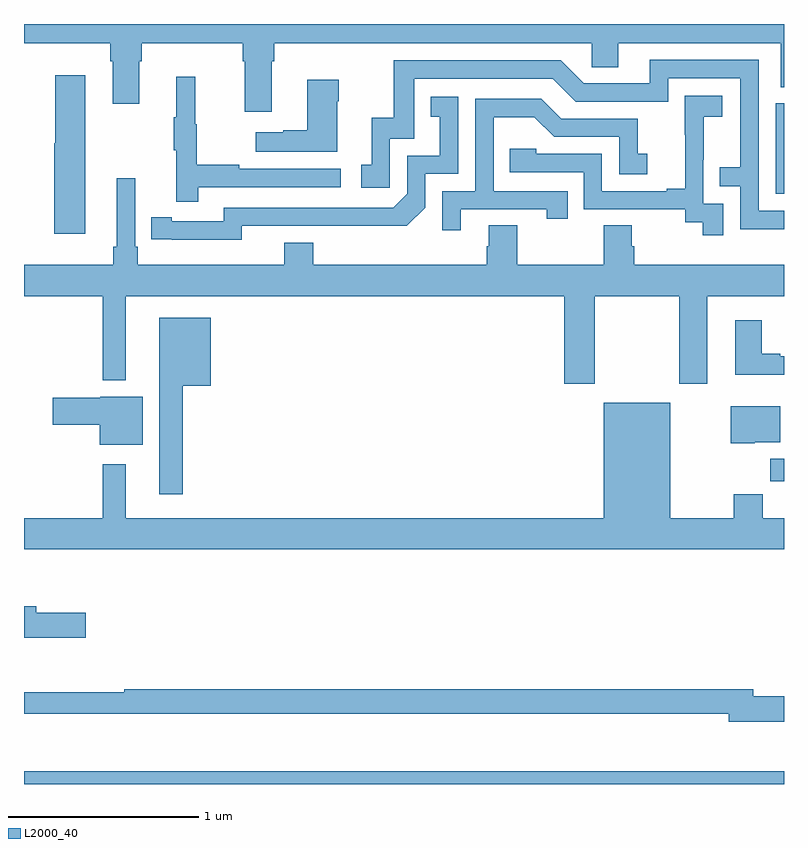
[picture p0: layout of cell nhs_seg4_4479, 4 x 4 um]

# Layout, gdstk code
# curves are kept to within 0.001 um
import gdstk
lib = gdstk.Library(unit=1e-6, precision=1e-09)
def R(c, l, rs):  # rectangles x0, y0, x1, y1
    for r in rs: c.add(gdstk.rectangle(r[:2], r[2:], *l))
def P(c, l, *ps):  # polygons
    for p in ps: c.add(gdstk.Polygon(p, *l))
L2000_40 = (2000, 40)

nhs_seg4_4479 = lib.new_cell('nhs_seg4_4479')
R(nhs_seg4_4479, L2000_40, [(351,812.9,355,812.968), (354.928,814.494,355,814.612), (354.957,816.006,355,816.483)])
P(nhs_seg4_4479, L2000_40, [(352.303,816.704),(352.316,816.704),(352.316,816.8),(353.988,816.8),(353.988,816.673),(354.127,816.673),(354.127,816.8),(354.983,816.8),(354.983,816.568),(355,816.568),(355,816.9),(351,816.9),(351,816.8),(351.455,816.8),(351.455,816.704),(351.467,816.704),(351.467,816.48),(351.607,816.48),(351.607,816.704),(351.62,816.704),(351.62,816.8),(352.151,816.8),(352.151,816.704),(352.163,816.704),(352.163,816.438),(352.303,816.438)],
  [(355,815.916),(354.867,815.916),(354.867,816.711),(354.293,816.711),(354.293,816.588),(353.946,816.588),(353.826,816.708),(352.947,816.708),(352.947,816.406),(352.829,816.406),(352.829,816.159),(352.776,816.159),(352.776,816.039),(352.926,816.039),(352.926,816.297),(353.055,816.297),(353.055,816.612),(353.784,816.612),(353.904,816.492),(354.39,816.492),(354.39,816.615),(354.771,816.615),(354.771,816.146),(354.661,816.146),(354.661,816.045),(354.771,816.045),(354.771,815.82),(355,815.82)],
  [(351.322,816.631),(351.164,816.631),(351.164,816.273),(351.158,816.273),(351.158,815.796),(351.322,815.796)],
  [(351.917,816.042),(352.666,816.042),(352.666,816.138),(352.133,816.138),(352.133,816.158),(351.91,816.158),(351.91,816.372),(351.902,816.372),(351.902,816.622),(351.8,816.622),(351.8,816.409),(351.789,816.409),(351.789,816.235),(351.8,816.235),(351.8,815.964),(351.917,815.964)],
  [(352.648,816.494),(352.656,816.494),(352.656,816.607),(352.49,816.607),(352.49,816.341),(352.364,816.341),(352.364,816.331),(352.221,816.331),(352.221,816.227),(352.648,816.227)],
  [(354.681,815.955),(354.576,815.955),(354.576,816.185),(354.578,816.185),(354.578,816.413),(354.676,816.413),(354.676,816.523),(354.478,816.523),(354.478,816.317),(354.479,816.317),(354.479,816.034),(354.383,816.034),(354.383,816.021),(354.042,816.021),(354.042,816.216),(353.697,816.216),(353.697,816.243),(353.557,816.243),(353.557,816.12),(353.946,816.12),(353.946,815.925),(354.48,815.925),(354.48,815.857),(354.573,815.857),(354.573,815.787),(354.681,815.787)],
  [(352.146,815.838),(353.014,815.837),(353.112,815.934),(353.112,816.111),(353.286,816.111),(353.286,816.517),(353.14,816.517),(353.14,816.411),(353.189,816.411),(353.189,816.207),(353.016,816.207),(353.016,816.006),(352.944,815.934),(352.05,815.934),(352.05,815.862),(351.778,815.862),(351.778,815.882),(351.67,815.882),(351.67,815.766),(352.146,815.765)],
  [(353.299,815.925),(353.75,815.925),(353.75,815.874),(353.861,815.874),(353.861,816.021),(353.472,816.021),(353.472,816.41),(353.686,816.41),(353.79,816.306),(354.132,816.306),(354.132,816.108),(354.28,816.108),(354.28,816.217),(354.231,816.217),(354.231,816.402),(353.827,816.402),(353.722,816.507),(353.376,816.507),(353.376,816.021),(353.202,816.021),(353.202,815.814),(353.299,815.814)],
  [(354.003,815.468),(354.448,815.468),(354.448,815.007),(354.595,815.007),(354.595,815.468),(355,815.468),(355,815.632),(354.212,815.632),(354.212,815.73),(354.199,815.73),(354.199,815.84),(354.052,815.84),(354.052,815.632),(353.595,815.632),(353.595,815.84),(353.447,815.84),(353.447,815.73),(353.435,815.73),(353.435,815.632),(352.523,815.632),(352.523,815.749),(352.37,815.749),(352.37,815.632),(351.599,815.632),(351.599,815.728),(351.585,815.728),(351.585,816.088),(351.488,816.088),(351.488,815.728),(351.469,815.728),(351.469,815.632),(351,815.632),(351,815.468),(351.414,815.468),(351.414,815.024),(351.535,815.024),(351.535,815.468),(353.843,815.468),(353.843,815.007),(354.003,815.007)],
  [(351.835,814.997),(351.982,814.997),(351.982,815.353),(351.713,815.353),(351.713,814.425),(351.835,814.425)],
  [(355,815.151),(354.979,815.151),(354.979,815.164),(354.883,815.164),(354.883,815.341),(354.743,815.341),(354.743,815.054),(355,815.054)],
  [(351.625,814.939),(351.402,814.939),(351.402,814.934),(351.15,814.934),(351.15,814.792),(351.398,814.792),(351.398,814.685),(351.625,814.685)],
  [(355,814.3),(354.887,814.3),(354.887,814.424),(354.736,814.424),(354.736,814.3),(354.4,814.3),(354.4,814.906),(354.05,814.906),(354.05,814.3),(351.535,814.3),(351.535,814.582),(351.414,814.582),(351.414,814.3),(351,814.3),(351,814.136),(355,814.136)],
  [(354.846,814.7),(354.979,814.7),(354.979,814.888),(354.721,814.888),(354.721,814.694),(354.846,814.694)],
  [(351.325,813.801),(351.064,813.801),(351.064,813.835),(351,813.835),(351,813.671),(351.325,813.671)],
  [(355,813.362),(354.838,813.362),(354.838,813.398),(351.527,813.398),(351.527,813.383),(351,813.383),(351,813.27),(354.71,813.27),(354.71,813.227),(355,813.227)])

lib.write_gds('nhs_seg4_4479.gds')
